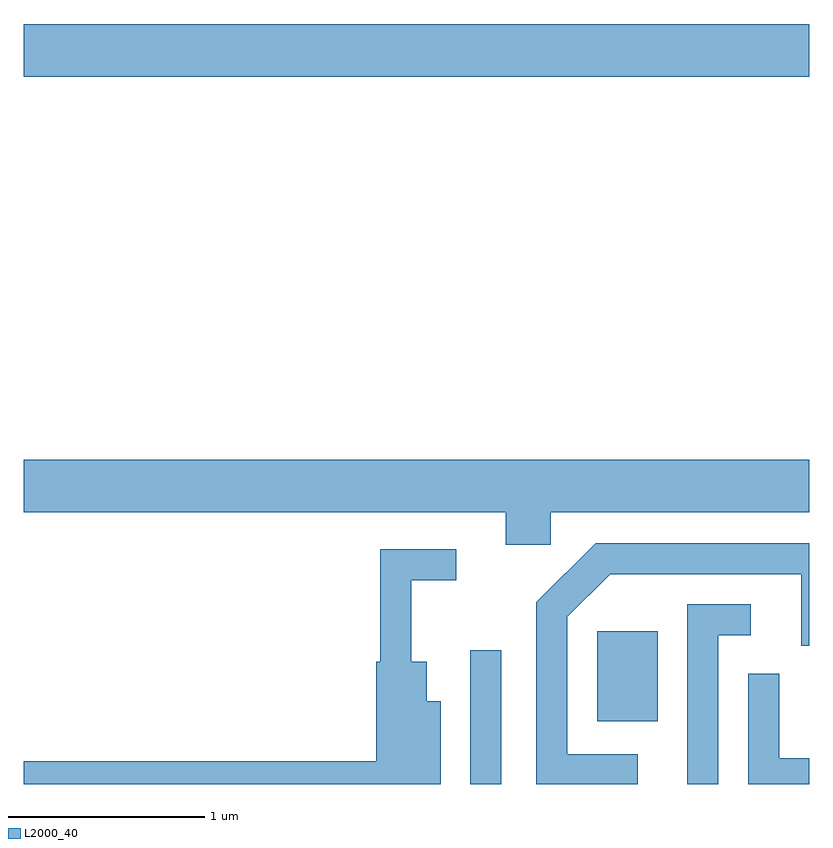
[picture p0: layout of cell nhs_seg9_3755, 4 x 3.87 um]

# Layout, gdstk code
import gdstk
lib = gdstk.Library(unit=1e-6, precision=1e-09)
def R(c, l, rs):  # rectangles x0, y0, x1, y1
    for r in rs: c.add(gdstk.rectangle(r[:2], r[2:], *l))
def P(c, l, *ps):  # polygons
    for p in ps: c.add(gdstk.Polygon(p, *l))
L2000_40 = (2000, 40)

nhs_seg9_3755 = lib.new_cell('nhs_seg9_3755')
R(nhs_seg9_3755, L2000_40, [(297.886,1990.432,298.044,1991.113), (298.531,1990.751,298.839,1991.209), (295.611,1994.036,299.611,1994.304)])
P(nhs_seg9_3755, L2000_40, [(298.294,1991.816),(299.611,1991.816),(299.611,1992.084),(295.611,1992.084),(295.611,1991.816),(298.066,1991.816),(298.066,1991.651),(298.294,1991.651)],
  [(298.738,1990.584),(298.379,1990.584),(298.379,1991.284),(298.597,1991.501),(299.571,1991.501),(299.571,1991.136),(299.611,1991.136),(299.611,1991.659),(298.524,1991.659),(298.221,1991.357),(298.221,1990.432),(298.738,1990.432)],
  [(297.734,1990.854),(297.664,1990.854),(297.664,1991.054),(297.584,1991.054),(297.584,1991.471),(297.813,1991.471),(297.813,1991.629),(297.426,1991.629),(297.426,1991.054),(297.406,1991.054),(297.406,1990.549),(295.611,1990.549),(295.611,1990.432),(297.734,1990.432)],
  [(299.149,1991.191),(299.313,1991.191),(299.313,1991.349),(298.991,1991.349),(298.991,1990.432),(299.149,1990.432)],
  [(299.611,1990.564),(299.459,1990.564),(299.459,1990.993),(299.301,1990.993),(299.301,1990.432),(299.611,1990.432)])

lib.write_gds('nhs_seg9_3755.gds')
